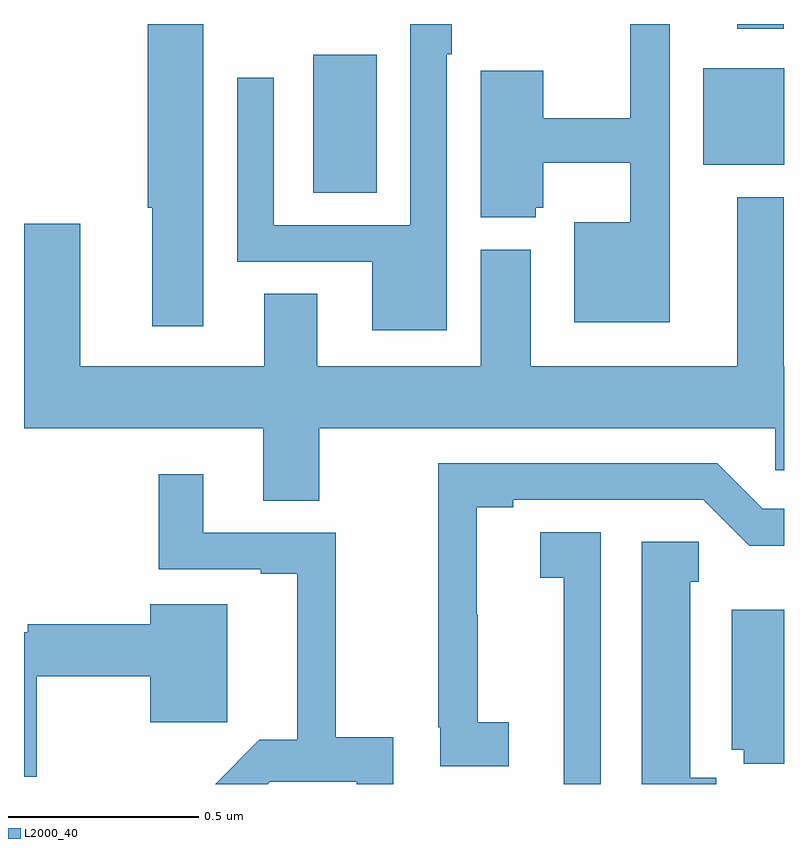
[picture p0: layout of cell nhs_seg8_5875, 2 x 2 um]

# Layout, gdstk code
import gdstk
lib = gdstk.Library(unit=1e-6, precision=1e-09)
def R(c, l, rs):  # rectangles x0, y0, x1, y1
    for r in rs: c.add(gdstk.rectangle(r[:2], r[2:], *l))
def P(c, l, *ps):  # polygons
    for p in ps: c.add(gdstk.Polygon(p, *l))
L2000_40 = (2000, 40)

nhs_seg8_5875 = lib.new_cell('nhs_seg8_5875')
R(nhs_seg8_5875, L2000_40, [(189.761,1114.456,189.928,1114.819), (190.787,1114.529,191,1114.783), (190.877,1114.887,190.999,1114.9)])
P(nhs_seg8_5875, L2000_40, [(190.699,1114.9),(190.595,1114.9),(190.595,1114.652),(190.366,1114.652),(190.366,1114.777),(190.202,1114.777),(190.202,1114.391),(190.347,1114.391),(190.347,1114.416),(190.366,1114.416),(190.366,1114.535),(190.595,1114.535),(190.595,1114.378),(190.448,1114.378),(190.448,1114.115),(190.699,1114.115)],
  [(190.113,1114.82),(190.126,1114.82),(190.126,1114.9),(190.017,1114.9),(190.017,1114.371),(189.657,1114.371),(189.657,1114.759),(189.561,1114.759),(189.561,1114.275),(189.917,1114.275),(189.917,1114.094),(190.113,1114.094)],
  [(189.472,1114.9),(189.326,1114.9),(189.326,1114.416),(189.338,1114.416),(189.338,1114.104),(189.472,1114.104)],
  [(189.777,1113.836),(190.977,1113.836),(190.977,1113.726),(191,1113.726),(191,1114),(190.999,1114),(190.999,1114.444),(190.877,1114.444),(190.877,1114),(190.333,1114),(190.333,1114.306),(190.202,1114.306),(190.202,1114),(189.772,1114),(189.772,1114.19),(189.632,1114.19),(189.632,1114),(189.148,1114),(189.148,1114.375),(189,1114.375),(189,1113.836),(189.629,1113.836),(189.629,1113.646),(189.777,1113.646)],
  [(190.276,1113.062),(190.194,1113.062),(190.194,1113.345),(190.192,1113.345),(190.192,1113.628),(190.288,1113.628),(190.288,1113.648),(190.788,1113.648),(190.909,1113.527),(191,1113.527),(191,1113.624),(190.944,1113.624),(190.824,1113.744),(190.09,1113.744),(190.09,1113.049),(190.096,1113.049),(190.096,1112.947),(190.276,1112.947)],
  [(189.647,1112.906),(189.876,1112.906),(189.876,1112.9),(189.972,1112.9),(189.972,1113.023),(189.821,1113.023),(189.821,1113.561),(189.472,1113.561),(189.472,1113.715),(189.355,1113.715),(189.355,1113.465),(189.623,1113.465),(189.623,1113.453),(189.719,1113.453),(189.719,1113.016),(189.619,1113.016),(189.503,1112.9),(189.641,1112.9)],
  [(190.518,1113.563),(190.359,1113.563),(190.359,1113.443),(190.42,1113.443),(190.42,1113.139),(190.421,1113.139),(190.421,1112.9),(190.518,1112.9)],
  [(190.822,1112.916),(190.753,1112.916),(190.753,1113.432),(190.775,1113.432),(190.775,1113.538),(190.625,1113.538),(190.625,1112.9),(190.822,1112.9)],
  [(189.034,1113.184),(189.332,1113.184),(189.332,1113.063),(189.535,1113.063),(189.535,1113.373),(189.332,1113.373),(189.332,1113.32),(189.01,1113.32),(189.01,1113.3),(189,1113.3),(189,1112.919),(189.034,1112.919)],
  [(191,1113.358),(190.862,1113.358),(190.862,1112.99),(190.894,1112.99),(190.894,1112.953),(191,1112.953)])

lib.write_gds('nhs_seg8_5875.gds')
